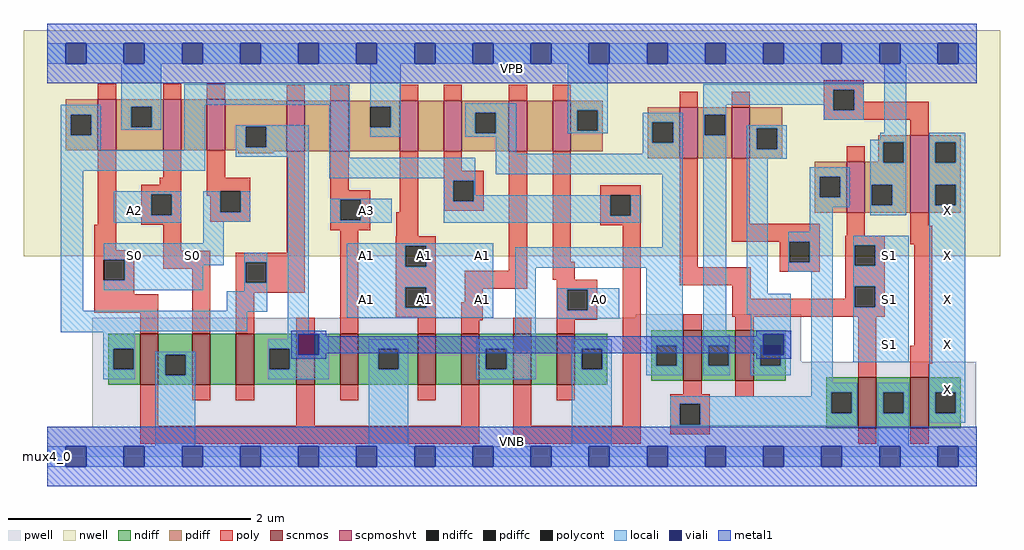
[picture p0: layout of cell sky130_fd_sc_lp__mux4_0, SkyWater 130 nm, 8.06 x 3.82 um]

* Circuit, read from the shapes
.subckt sky130_fd_sc_lp__mux4_0 A0 A1 A2 A3 S0 S1 VGND VNB VPB VPWR X
XM1 VGND S0 n1 VNB sky130_fd_pr__nfet_01v8 w=0.42 l=0.15
XM2 n2 A2 VGND VNB sky130_fd_pr__nfet_01v8 w=0.42 l=0.15
XM3 n3 n1 n2 VNB sky130_fd_pr__nfet_01v8 w=0.42 l=0.15
XM4 n4 S0 n3 VNB sky130_fd_pr__nfet_01v8 w=0.42 l=0.15
XM5 VGND A3 n4 VNB sky130_fd_pr__nfet_01v8 w=0.42 l=0.15
XM6 n5 A1 VGND VNB sky130_fd_pr__nfet_01v8 w=0.42 l=0.15
XM7 n6 S0 n5 VNB sky130_fd_pr__nfet_01v8 w=0.42 l=0.15
XM8 n7 n1 n6 VNB sky130_fd_pr__nfet_01v8 w=0.42 l=0.15
XM9 VGND A0 n7 VNB sky130_fd_pr__nfet_01v8 w=0.42 l=0.15
XM10 n8 n9 n6 VNB sky130_fd_pr__nfet_01v8 w=0.42 l=0.15
XM11 n3 S1 n8 VNB sky130_fd_pr__nfet_01v8 w=0.42 l=0.15
XM12 VGND S1 n9 VNB sky130_fd_pr__nfet_01v8 w=0.42 l=0.15
XM13 X n8 VGND VNB sky130_fd_pr__nfet_01v8 w=0.42 l=0.15
XM14 VPWR S0 n1 VPB sky130_fd_pr__pfet_01v8_hvt w=0.42 l=0.15
XM15 n10 A2 VPWR VPB sky130_fd_pr__pfet_01v8_hvt w=0.42 l=0.15
XM16 n3 S0 n10 VPB sky130_fd_pr__pfet_01v8_hvt w=0.42 l=0.15
XM17 n11 n1 n3 VPB sky130_fd_pr__pfet_01v8_hvt w=0.42 l=0.15
XM18 VPWR A3 n11 VPB sky130_fd_pr__pfet_01v8_hvt w=0.42 l=0.15
XM19 n12 A1 VPWR VPB sky130_fd_pr__pfet_01v8_hvt w=0.42 l=0.15
XM20 n6 n1 n12 VPB sky130_fd_pr__pfet_01v8_hvt w=0.42 l=0.15
XM21 n13 S0 n6 VPB sky130_fd_pr__pfet_01v8_hvt w=0.42 l=0.15
XM22 VPWR A0 n13 VPB sky130_fd_pr__pfet_01v8_hvt w=0.42 l=0.15
XM23 n8 S1 n6 VPB sky130_fd_pr__pfet_01v8_hvt w=0.42 l=0.15
XM24 n3 n9 n8 VPB sky130_fd_pr__pfet_01v8_hvt w=0.42 l=0.15
XM25 VPWR S1 n9 VPB sky130_fd_pr__pfet_01v8_hvt w=0.42 l=0.15
XM26 X n8 VPWR VPB sky130_fd_pr__pfet_01v8_hvt w=0.64 l=0.15
.ends

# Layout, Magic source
magic
tech sky130A
magscale 1 2
<< nwell >>
rect -38 331 1574 704
<< pwell >>
rect 972 229 1246 235
rect 75 157 1246 229
rect 75 49 1535 157
rect 0 0 1536 49
<< scnmos >>
rect 154 119 184 203
rect 240 119 270 203
rect 312 119 342 203
rect 412 119 442 203
rect 484 119 514 203
rect 612 119 642 203
rect 684 119 714 203
rect 770 119 800 203
rect 842 119 872 203
rect 1051 125 1081 209
rect 1137 125 1167 209
rect 1340 47 1370 131
rect 1426 47 1456 131
<< scpmoshvt >>
rect 84 506 114 590
rect 192 506 222 590
rect 264 506 294 590
rect 396 504 426 588
rect 468 504 498 588
rect 583 504 613 588
rect 655 504 685 588
rect 763 504 793 588
rect 835 504 865 588
rect 1045 493 1075 577
rect 1131 493 1161 577
rect 1321 403 1351 487
rect 1426 403 1456 531
<< ndiff >>
rect 101 178 154 203
rect 101 144 109 178
rect 143 144 154 178
rect 101 119 154 144
rect 184 168 240 203
rect 184 134 195 168
rect 229 134 240 168
rect 184 119 240 134
rect 270 119 312 203
rect 342 178 412 203
rect 342 144 367 178
rect 401 144 412 178
rect 342 119 412 144
rect 442 119 484 203
rect 514 178 612 203
rect 514 144 547 178
rect 581 144 612 178
rect 514 119 612 144
rect 642 119 684 203
rect 714 178 770 203
rect 714 144 725 178
rect 759 144 770 178
rect 714 119 770 144
rect 800 119 842 203
rect 872 178 925 203
rect 872 144 883 178
rect 917 144 925 178
rect 872 119 925 144
rect 998 184 1051 209
rect 998 150 1006 184
rect 1040 150 1051 184
rect 998 125 1051 150
rect 1081 184 1137 209
rect 1081 150 1092 184
rect 1126 150 1137 184
rect 1081 125 1137 150
rect 1167 184 1220 209
rect 1167 150 1178 184
rect 1212 150 1220 184
rect 1167 125 1220 150
rect 1287 106 1340 131
rect 1287 72 1295 106
rect 1329 72 1340 106
rect 1287 47 1340 72
rect 1370 106 1426 131
rect 1370 72 1381 106
rect 1415 72 1426 106
rect 1370 47 1426 72
rect 1456 106 1509 131
rect 1456 72 1467 106
rect 1501 72 1509 106
rect 1456 47 1509 72
<< pdiff >>
rect 31 565 84 590
rect 31 531 39 565
rect 73 531 84 565
rect 31 506 84 531
rect 114 578 192 590
rect 114 544 139 578
rect 173 544 192 578
rect 114 506 192 544
rect 222 506 264 590
rect 294 588 374 590
rect 294 545 396 588
rect 294 511 328 545
rect 362 511 396 545
rect 294 506 396 511
rect 316 504 396 506
rect 426 504 468 588
rect 498 578 583 588
rect 498 544 534 578
rect 568 544 583 578
rect 498 504 583 544
rect 613 504 655 588
rect 685 568 763 588
rect 685 534 707 568
rect 741 534 763 568
rect 685 504 763 534
rect 793 504 835 588
rect 865 572 918 588
rect 865 538 876 572
rect 910 538 918 572
rect 865 504 918 538
rect 992 552 1045 577
rect 992 518 1000 552
rect 1034 518 1045 552
rect 316 501 374 504
rect 992 493 1045 518
rect 1075 565 1131 577
rect 1075 531 1086 565
rect 1120 531 1131 565
rect 1075 493 1131 531
rect 1161 542 1214 577
rect 1161 508 1172 542
rect 1206 508 1214 542
rect 1373 519 1426 531
rect 1161 493 1214 508
rect 1373 487 1381 519
rect 1268 462 1321 487
rect 1268 428 1276 462
rect 1310 428 1321 462
rect 1268 403 1321 428
rect 1351 485 1381 487
rect 1415 485 1426 519
rect 1351 449 1426 485
rect 1351 415 1362 449
rect 1396 415 1426 449
rect 1351 403 1426 415
rect 1456 519 1509 531
rect 1456 485 1467 519
rect 1501 485 1509 519
rect 1456 449 1509 485
rect 1456 415 1467 449
rect 1501 415 1509 449
rect 1456 403 1509 415
<< ndiffc >>
rect 109 144 143 178
rect 195 134 229 168
rect 367 144 401 178
rect 547 144 581 178
rect 725 144 759 178
rect 883 144 917 178
rect 1006 150 1040 184
rect 1092 150 1126 184
rect 1178 150 1212 184
rect 1295 72 1329 106
rect 1381 72 1415 106
rect 1467 72 1501 106
<< pdiffc >>
rect 39 531 73 565
rect 139 544 173 578
rect 328 511 362 545
rect 534 544 568 578
rect 707 534 741 568
rect 876 538 910 572
rect 1000 518 1034 552
rect 1086 531 1120 565
rect 1172 508 1206 542
rect 1276 428 1310 462
rect 1381 485 1415 519
rect 1362 415 1396 449
rect 1467 485 1501 519
rect 1467 415 1501 449
<< poly >>
rect 84 590 114 616
rect 192 590 222 616
rect 264 590 294 616
rect 396 588 426 614
rect 468 588 498 614
rect 583 588 613 614
rect 655 588 685 614
rect 763 588 793 614
rect 835 588 865 614
rect 1283 606 1349 622
rect 84 383 114 506
rect 192 461 222 506
rect 186 449 222 461
rect 156 433 222 449
rect 156 399 172 433
rect 206 399 222 433
rect 264 461 294 506
rect 1045 577 1075 603
rect 1131 577 1161 603
rect 264 438 336 461
rect 264 431 286 438
rect 156 383 222 399
rect 270 404 286 431
rect 320 404 336 438
rect 270 388 336 404
rect 78 341 114 383
rect 78 325 144 341
rect 78 291 94 325
rect 128 291 144 325
rect 192 340 222 383
rect 192 310 270 340
rect 396 337 426 504
rect 468 440 498 504
rect 468 424 534 440
rect 468 390 484 424
rect 518 390 534 424
rect 583 404 613 504
rect 655 472 685 504
rect 655 456 721 472
rect 655 422 671 456
rect 705 422 721 456
rect 655 406 721 422
rect 468 374 534 390
rect 78 268 144 291
rect 78 238 184 268
rect 154 203 184 238
rect 240 203 270 310
rect 312 321 426 337
rect 312 287 328 321
rect 362 287 426 321
rect 312 271 426 287
rect 312 203 342 271
rect 412 203 442 229
rect 484 203 514 374
rect 577 364 613 404
rect 576 348 642 364
rect 576 314 592 348
rect 626 314 642 348
rect 576 280 642 314
rect 763 307 793 504
rect 576 246 592 280
rect 626 246 642 280
rect 690 277 793 307
rect 835 322 865 504
rect 1283 572 1299 606
rect 1333 586 1349 606
rect 1333 572 1456 586
rect 1283 556 1456 572
rect 1426 531 1456 556
rect 914 432 981 448
rect 914 398 930 432
rect 964 398 981 432
rect 914 382 981 398
rect 835 292 872 322
rect 690 255 720 277
rect 576 230 642 246
rect 612 203 642 230
rect 684 225 720 255
rect 842 276 909 292
rect 842 242 859 276
rect 893 242 909 276
rect 684 203 714 225
rect 770 203 800 229
rect 842 226 909 242
rect 842 203 872 226
rect 154 51 184 119
rect 240 93 270 119
rect 312 93 342 119
rect 412 51 442 119
rect 484 93 514 119
rect 612 93 642 119
rect 684 51 714 119
rect 154 21 714 51
rect 770 51 800 119
rect 842 93 872 119
rect 951 51 981 382
rect 1045 313 1075 493
rect 1131 385 1161 493
rect 1321 487 1351 513
rect 1131 355 1276 385
rect 1321 365 1351 403
rect 1426 381 1456 403
rect 1210 321 1226 355
rect 1260 321 1276 355
rect 1045 283 1162 313
rect 1210 305 1276 321
rect 1318 349 1384 365
rect 1426 351 1462 381
rect 1318 315 1334 349
rect 1368 315 1384 349
rect 1132 261 1162 283
rect 1318 281 1384 315
rect 1318 261 1334 281
rect 1132 247 1334 261
rect 1368 247 1384 281
rect 1051 209 1081 235
rect 1132 231 1384 247
rect 1137 209 1167 231
rect 1340 131 1370 231
rect 1432 183 1462 351
rect 1426 153 1462 183
rect 1426 131 1456 153
rect 1051 103 1081 125
rect 770 21 981 51
rect 1029 87 1095 103
rect 1137 99 1167 125
rect 1029 53 1045 87
rect 1079 53 1095 87
rect 1029 37 1095 53
rect 1340 21 1370 47
rect 1426 21 1456 47
<< polycont >>
rect 172 399 206 433
rect 286 404 320 438
rect 94 291 128 325
rect 484 390 518 424
rect 671 422 705 456
rect 328 287 362 321
rect 592 314 626 348
rect 592 246 626 280
rect 1299 572 1333 606
rect 930 398 964 432
rect 859 242 893 276
rect 1226 321 1260 355
rect 1334 315 1368 349
rect 1334 247 1368 281
rect 1045 53 1079 87
<< locali >>
rect 0 649 31 683
rect 65 649 127 683
rect 161 649 223 683
rect 257 649 319 683
rect 353 649 415 683
rect 449 649 511 683
rect 545 649 607 683
rect 641 649 703 683
rect 737 649 799 683
rect 833 649 895 683
rect 929 649 991 683
rect 1025 649 1087 683
rect 1121 649 1183 683
rect 1217 649 1279 683
rect 1313 649 1375 683
rect 1409 649 1471 683
rect 1505 649 1536 683
rect 23 565 89 581
rect 23 531 39 565
rect 73 531 89 565
rect 123 578 189 649
rect 123 544 139 578
rect 173 544 189 578
rect 123 540 189 544
rect 227 581 500 615
rect 23 506 89 531
rect 227 506 261 581
rect 23 472 261 506
rect 312 545 432 547
rect 312 511 328 545
rect 362 511 432 545
rect 312 495 432 511
rect 23 241 60 472
rect 110 433 222 438
rect 110 399 172 433
rect 206 399 222 433
rect 110 386 222 399
rect 258 404 286 438
rect 320 404 336 438
rect 258 388 336 404
rect 258 352 292 388
rect 94 325 292 352
rect 128 316 292 325
rect 326 321 364 337
rect 128 291 258 316
rect 94 275 258 291
rect 326 287 328 321
rect 362 287 364 321
rect 326 273 364 287
rect 297 241 364 273
rect 23 239 364 241
rect 23 207 331 239
rect 23 205 145 207
rect 93 178 145 205
rect 398 203 432 495
rect 466 494 500 581
rect 534 578 584 649
rect 568 544 584 578
rect 534 528 584 544
rect 691 568 775 584
rect 691 534 707 568
rect 741 534 775 568
rect 860 572 926 649
rect 860 538 876 572
rect 910 538 926 572
rect 1084 606 1349 615
rect 1084 581 1299 606
rect 860 534 926 538
rect 984 552 1050 568
rect 691 528 775 534
rect 741 500 775 528
rect 984 518 1000 552
rect 1034 518 1050 552
rect 984 500 1050 518
rect 466 460 707 494
rect 741 466 1050 500
rect 655 456 707 460
rect 468 424 569 426
rect 468 390 484 424
rect 518 390 569 424
rect 468 386 569 390
rect 655 422 671 456
rect 705 432 707 456
rect 705 422 930 432
rect 655 398 930 422
rect 964 398 980 432
rect 655 386 980 398
rect 495 348 737 352
rect 495 314 592 348
rect 626 314 737 348
rect 1016 346 1050 466
rect 495 280 737 314
rect 495 246 592 280
rect 626 246 737 280
rect 495 229 737 246
rect 773 312 1050 346
rect 398 202 465 203
rect 398 194 415 202
rect 93 144 109 178
rect 143 144 145 178
rect 365 178 415 194
rect 93 128 145 144
rect 179 168 245 173
rect 179 134 195 168
rect 229 134 245 168
rect 179 17 245 134
rect 365 144 367 178
rect 401 168 415 178
rect 449 168 465 202
rect 773 194 807 312
rect 843 276 945 278
rect 843 242 859 276
rect 893 242 945 276
rect 843 228 945 242
rect 401 144 465 168
rect 365 128 465 144
rect 531 178 597 194
rect 531 144 547 178
rect 581 144 597 178
rect 531 17 597 144
rect 709 178 807 194
rect 709 144 725 178
rect 759 144 807 178
rect 709 128 807 144
rect 867 178 933 194
rect 867 144 883 178
rect 917 144 933 178
rect 867 17 933 144
rect 990 184 1050 312
rect 990 150 1006 184
rect 1040 150 1050 184
rect 990 134 1050 150
rect 1084 565 1122 581
rect 1084 531 1086 565
rect 1120 531 1122 565
rect 1283 572 1299 581
rect 1333 572 1349 606
rect 1283 556 1349 572
rect 1084 201 1122 531
rect 1156 542 1222 547
rect 1156 508 1172 542
rect 1206 508 1222 542
rect 1383 535 1419 649
rect 1376 523 1419 535
rect 1156 492 1222 508
rect 1360 519 1419 523
rect 1156 269 1190 492
rect 1360 485 1381 519
rect 1415 485 1419 519
rect 1260 462 1326 478
rect 1260 428 1276 462
rect 1310 428 1326 462
rect 1260 412 1326 428
rect 1360 449 1419 485
rect 1360 415 1362 449
rect 1396 415 1419 449
rect 1260 371 1298 412
rect 1360 399 1419 415
rect 1457 519 1517 535
rect 1457 485 1467 519
rect 1501 485 1517 519
rect 1457 449 1517 485
rect 1457 415 1467 449
rect 1501 415 1517 449
rect 1224 355 1298 371
rect 1224 321 1226 355
rect 1260 321 1298 355
rect 1224 305 1298 321
rect 1156 235 1228 269
rect 1162 202 1228 235
rect 1084 184 1128 201
rect 1084 150 1092 184
rect 1126 150 1128 184
rect 1084 134 1128 150
rect 1162 184 1183 202
rect 1162 150 1178 184
rect 1217 168 1228 202
rect 1212 150 1228 168
rect 1162 134 1228 150
rect 1262 122 1298 305
rect 1332 349 1423 365
rect 1332 315 1334 349
rect 1368 315 1423 349
rect 1332 281 1423 315
rect 1332 247 1334 281
rect 1368 247 1423 281
rect 1332 156 1423 247
rect 1262 106 1338 122
rect 1262 100 1295 106
rect 1029 87 1295 100
rect 1029 53 1045 87
rect 1079 72 1295 87
rect 1329 72 1338 106
rect 1079 53 1338 72
rect 1029 51 1338 53
rect 1372 106 1423 122
rect 1372 72 1381 106
rect 1415 72 1423 106
rect 1372 17 1423 72
rect 1457 106 1517 415
rect 1457 72 1467 106
rect 1501 72 1517 106
rect 1457 56 1517 72
rect 0 -17 31 17
rect 65 -17 127 17
rect 161 -17 223 17
rect 257 -17 319 17
rect 353 -17 415 17
rect 449 -17 511 17
rect 545 -17 607 17
rect 641 -17 703 17
rect 737 -17 799 17
rect 833 -17 895 17
rect 929 -17 991 17
rect 1025 -17 1087 17
rect 1121 -17 1183 17
rect 1217 -17 1279 17
rect 1313 -17 1375 17
rect 1409 -17 1471 17
rect 1505 -17 1536 17
<< viali >>
rect 31 649 65 683
rect 127 649 161 683
rect 223 649 257 683
rect 319 649 353 683
rect 415 649 449 683
rect 511 649 545 683
rect 607 649 641 683
rect 703 649 737 683
rect 799 649 833 683
rect 895 649 929 683
rect 991 649 1025 683
rect 1087 649 1121 683
rect 1183 649 1217 683
rect 1279 649 1313 683
rect 1375 649 1409 683
rect 1471 649 1505 683
rect 415 168 449 202
rect 1183 184 1217 202
rect 1183 168 1212 184
rect 1212 168 1217 184
rect 31 -17 65 17
rect 127 -17 161 17
rect 223 -17 257 17
rect 319 -17 353 17
rect 415 -17 449 17
rect 511 -17 545 17
rect 607 -17 641 17
rect 703 -17 737 17
rect 799 -17 833 17
rect 895 -17 929 17
rect 991 -17 1025 17
rect 1087 -17 1121 17
rect 1183 -17 1217 17
rect 1279 -17 1313 17
rect 1375 -17 1409 17
rect 1471 -17 1505 17
<< metal1 >>
rect 0 683 1536 715
rect 0 649 31 683
rect 65 649 127 683
rect 161 649 223 683
rect 257 649 319 683
rect 353 649 415 683
rect 449 649 511 683
rect 545 649 607 683
rect 641 649 703 683
rect 737 649 799 683
rect 833 649 895 683
rect 929 649 991 683
rect 1025 649 1087 683
rect 1121 649 1183 683
rect 1217 649 1279 683
rect 1313 649 1375 683
rect 1409 649 1471 683
rect 1505 649 1536 683
rect 0 617 1536 649
rect 403 202 461 208
rect 403 168 415 202
rect 449 199 461 202
rect 1171 202 1229 208
rect 1171 199 1183 202
rect 449 171 1183 199
rect 449 168 461 171
rect 403 162 461 168
rect 1171 168 1183 171
rect 1217 168 1229 202
rect 1171 162 1229 168
rect 0 17 1536 49
rect 0 -17 31 17
rect 65 -17 127 17
rect 161 -17 223 17
rect 257 -17 319 17
rect 353 -17 415 17
rect 449 -17 511 17
rect 545 -17 607 17
rect 641 -17 703 17
rect 737 -17 799 17
rect 833 -17 895 17
rect 929 -17 991 17
rect 1025 -17 1087 17
rect 1121 -17 1183 17
rect 1217 -17 1279 17
rect 1313 -17 1375 17
rect 1409 -17 1471 17
rect 1505 -17 1536 17
rect 0 -49 1536 -17
<< labels >>
flabel pwell s 0 0 1536 49 0 FreeSans 200 0 0 0 VNB
port 8 nsew ground bidirectional
flabel nwell s 0 617 1536 666 0 FreeSans 200 0 0 0 VPB
port 9 nsew power bidirectional
rlabel comment s 0 0 0 0 4 mux4_0
flabel metal1 s 0 617 1536 666 0 FreeSans 340 0 0 0 VPWR
port 10 nsew power bidirectional
flabel metal1 s 0 0 1536 49 0 FreeSans 340 0 0 0 VGND
port 7 nsew ground bidirectional
flabel locali s 895 242 929 276 0 FreeSans 340 0 0 0 A0
port 1 nsew signal input
flabel locali s 127 316 161 350 0 FreeSans 340 0 0 0 S0
port 5 nsew signal input
flabel locali s 223 316 257 350 0 FreeSans 340 0 0 0 S0
port 5 nsew signal input
flabel locali s 511 242 545 276 0 FreeSans 340 0 0 0 A1
port 2 nsew signal input
flabel locali s 511 316 545 350 0 FreeSans 340 0 0 0 A1
port 2 nsew signal input
flabel locali s 607 242 641 276 0 FreeSans 340 0 0 0 A1
port 2 nsew signal input
flabel locali s 607 316 641 350 0 FreeSans 340 0 0 0 A1
port 2 nsew signal input
flabel locali s 703 242 737 276 0 FreeSans 340 0 0 0 A1
port 2 nsew signal input
flabel locali s 703 316 737 350 0 FreeSans 340 0 0 0 A1
port 2 nsew signal input
flabel locali s 127 390 161 424 0 FreeSans 340 0 0 0 A2
port 3 nsew signal input
flabel locali s 511 390 545 424 0 FreeSans 340 0 0 0 A3
port 4 nsew signal input
flabel locali s 1375 168 1409 202 0 FreeSans 340 0 0 0 S1
port 6 nsew signal input
flabel locali s 1375 242 1409 276 0 FreeSans 340 0 0 0 S1
port 6 nsew signal input
flabel locali s 1375 316 1409 350 0 FreeSans 340 0 0 0 S1
port 6 nsew signal input
flabel locali s 1471 94 1505 128 0 FreeSans 340 0 0 0 X
port 11 nsew signal output
flabel locali s 1471 168 1505 202 0 FreeSans 340 0 0 0 X
port 11 nsew signal output
flabel locali s 1471 242 1505 276 0 FreeSans 340 0 0 0 X
port 11 nsew signal output
flabel locali s 1471 316 1505 350 0 FreeSans 340 0 0 0 X
port 11 nsew signal output
flabel locali s 1471 390 1505 424 0 FreeSans 340 0 0 0 X
port 11 nsew signal output
<< properties >>
string LEFsite unit
string LEFclass CORE
string FIXED_BBOX 0 0 1536 666
string GDS_FILE $PDKPATH/libs.ref/sky130_fd_sc_lp/gds/sky130_fd_sc_lp.gds
string LEFsymmetry X Y R90
string GDS_END 1491074
string GDS_START 1477788
<< end >>
